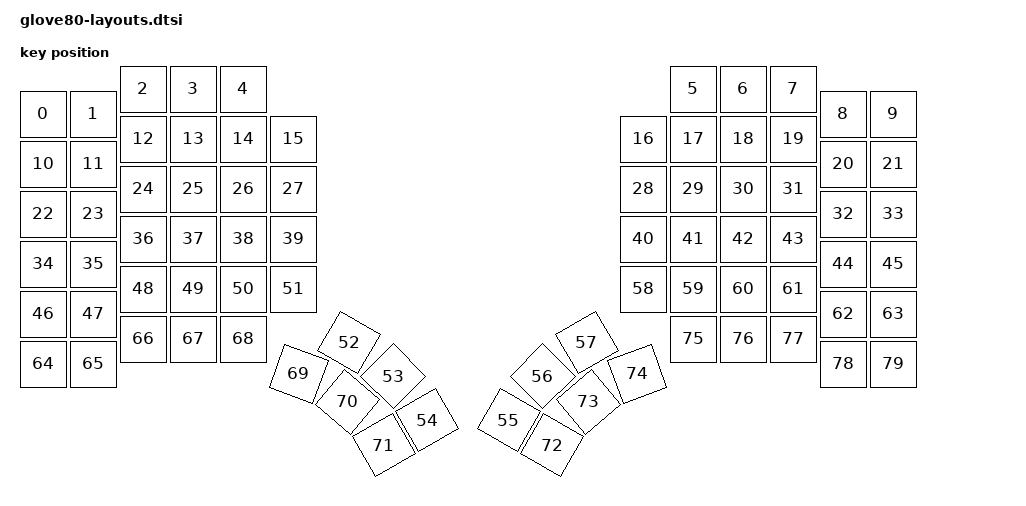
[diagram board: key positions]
#include <physical_layouts.dtsi>

/ {
    physical_layout0: physical_layout_0 {
        compatible = "zmk,physical-layout";
        display-name = "Default";

        keys  //                     w   h    x    y     rot    rx    ry
            = <&key_physical_attrs 100 100    0   50       0     0     0>
            , <&key_physical_attrs 100 100  100   50       0     0     0>
            , <&key_physical_attrs 100 100  200    0       0     0     0>
            , <&key_physical_attrs 100 100  300    0       0     0     0>
            , <&key_physical_attrs 100 100  400    0       0     0     0>
            , <&key_physical_attrs 100 100 1300    0       0     0     0>
            , <&key_physical_attrs 100 100 1400    0       0     0     0>
            , <&key_physical_attrs 100 100 1500    0       0     0     0>
            , <&key_physical_attrs 100 100 1600   50       0     0     0>
            , <&key_physical_attrs 100 100 1700   50       0     0     0>
            , <&key_physical_attrs 100 100    0  150       0     0     0>
            , <&key_physical_attrs 100 100  100  150       0     0     0>
            , <&key_physical_attrs 100 100  200  100       0     0     0>
            , <&key_physical_attrs 100 100  300  100       0     0     0>
            , <&key_physical_attrs 100 100  400  100       0     0     0>
            , <&key_physical_attrs 100 100  500  100       0     0     0>
            , <&key_physical_attrs 100 100 1200  100       0     0     0>
            , <&key_physical_attrs 100 100 1300  100       0     0     0>
            , <&key_physical_attrs 100 100 1400  100       0     0     0>
            , <&key_physical_attrs 100 100 1500  100       0     0     0>
            , <&key_physical_attrs 100 100 1600  150       0     0     0>
            , <&key_physical_attrs 100 100 1700  150       0     0     0>
            , <&key_physical_attrs 100 100    0  250       0     0     0>
            , <&key_physical_attrs 100 100  100  250       0     0     0>
            , <&key_physical_attrs 100 100  200  200       0     0     0>
            , <&key_physical_attrs 100 100  300  200       0     0     0>
            , <&key_physical_attrs 100 100  400  200       0     0     0>
            , <&key_physical_attrs 100 100  500  200       0     0     0>
            , <&key_physical_attrs 100 100 1200  200       0     0     0>
            , <&key_physical_attrs 100 100 1300  200       0     0     0>
            , <&key_physical_attrs 100 100 1400  200       0     0     0>
            , <&key_physical_attrs 100 100 1500  200       0     0     0>
            , <&key_physical_attrs 100 100 1600  250       0     0     0>
            , <&key_physical_attrs 100 100 1700  250       0     0     0>
            , <&key_physical_attrs 100 100    0  350       0     0     0>
            , <&key_physical_attrs 100 100  100  350       0     0     0>
            , <&key_physical_attrs 100 100  200  300       0     0     0>
            , <&key_physical_attrs 100 100  300  300       0     0     0>
            , <&key_physical_attrs 100 100  400  300       0     0     0>
            , <&key_physical_attrs 100 100  500  300       0     0     0>
            , <&key_physical_attrs 100 100 1200  300       0     0     0>
            , <&key_physical_attrs 100 100 1300  300       0     0     0>
            , <&key_physical_attrs 100 100 1400  300       0     0     0>
            , <&key_physical_attrs 100 100 1500  300       0     0     0>
            , <&key_physical_attrs 100 100 1600  350       0     0     0>
            , <&key_physical_attrs 100 100 1700  350       0     0     0>
            , <&key_physical_attrs 100 100    0  450       0     0     0>
            , <&key_physical_attrs 100 100  100  450       0     0     0>
            , <&key_physical_attrs 100 100  200  400       0     0     0>
            , <&key_physical_attrs 100 100  300  400       0     0     0>
            , <&key_physical_attrs 100 100  400  400       0     0     0>
            , <&key_physical_attrs 100 100  500  400       0     0     0>
            , <&key_physical_attrs 100 100  400  450    3000   450   925>
            , <&key_physical_attrs 100 100  400  450    4500   450   925>
            , <&key_physical_attrs 100 100  400  450    6000   450   925>
            , <&key_physical_attrs 100 100 1300  450 (-6000)  1350   925>
            , <&key_physical_attrs 100 100 1300  450 (-4500)  1350   925>
            , <&key_physical_attrs 100 100 1300  450 (-3000)  1350   925>
            , <&key_physical_attrs 100 100 1200  400       0     0     0>
            , <&key_physical_attrs 100 100 1300  400       0     0     0>
            , <&key_physical_attrs 100 100 1400  400       0     0     0>
            , <&key_physical_attrs 100 100 1500  400       0     0     0>
            , <&key_physical_attrs 100 100 1600  450       0     0     0>
            , <&key_physical_attrs 100 100 1700  450       0     0     0>
            , <&key_physical_attrs 100 100    0  550       0     0     0>
            , <&key_physical_attrs 100 100  100  550       0     0     0>
            , <&key_physical_attrs 100 100  200  500       0     0     0>
            , <&key_physical_attrs 100 100  300  500       0     0     0>
            , <&key_physical_attrs 100 100  400  500       0     0     0>
            , <&key_physical_attrs 100 100  400  550    2000   450   925>
            , <&key_physical_attrs 100 100  400  550    4000   450   925>
            , <&key_physical_attrs 100 100  400  550    6000   450   925>
            , <&key_physical_attrs 100 100 1300  550 (-6000)  1350   925>
            , <&key_physical_attrs 100 100 1300  550 (-4000)  1350   925>
            , <&key_physical_attrs 100 100 1300  550 (-2000)  1350   925>
            , <&key_physical_attrs 100 100 1300  500       0     0     0>
            , <&key_physical_attrs 100 100 1400  500       0     0     0>
            , <&key_physical_attrs 100 100 1500  500       0     0     0>
            , <&key_physical_attrs 100 100 1600  550       0     0     0>
            , <&key_physical_attrs 100 100 1700  550       0     0     0>
            ;
    };
};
